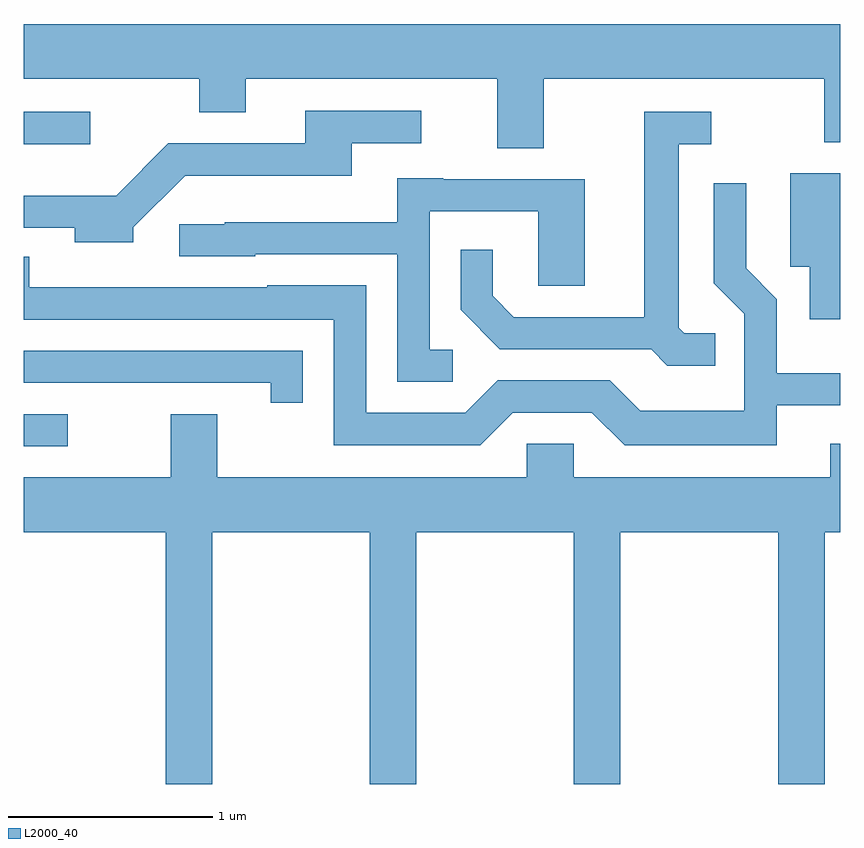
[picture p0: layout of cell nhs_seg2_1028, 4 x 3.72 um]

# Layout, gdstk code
import gdstk
lib = gdstk.Library(unit=1e-6, precision=1e-09)
def R(c, l, rs):  # rectangles x0, y0, x1, y1
    for r in rs: c.add(gdstk.rectangle(r[:2], r[2:], *l))
def P(c, l, *ps):  # polygons
    for p in ps: c.add(gdstk.Polygon(p, *l))
L2000_40 = (2000, 40)

nhs_seg2_1028 = lib.new_cell('nhs_seg2_1028')
R(nhs_seg2_1028, L2000_40, [(215.611,995.456,215.828,995.614), (215.611,996.936,215.938,997.094)])
P(nhs_seg2_1028, L2000_40, [(218.159,997.256),(219.531,997.256),(219.531,996.946),(219.611,996.946),(219.611,997.524),(215.611,997.524),(215.611,997.256),(216.471,997.256),(216.471,997.091),(216.699,997.091),(216.699,997.256),(217.931,997.256),(217.931,996.916),(218.159,996.916)],
  [(216.149,996.529),(216.402,996.781),(217.219,996.781),(217.219,996.941),(217.558,996.941),(217.558,997.099),(216.991,997.099),(216.991,996.939),(216.319,996.939),(216.064,996.684),(215.611,996.684),(215.611,996.526),(215.861,996.526),(215.861,996.456),(216.149,996.456)],
  [(218.998,996.009),(218.847,996.009),(218.819,996.037),(218.819,996.936),(218.978,996.936),(218.978,997.094),(218.651,997.094),(218.651,996.089),(218.012,996.089),(217.909,996.192),(217.909,996.418),(217.751,996.418),(217.751,996.124),(217.944,995.931),(218.684,995.931),(218.764,995.851),(218.998,995.851)],
  [(219.611,996.794),(219.366,996.794),(219.366,996.336),(219.461,996.336),(219.461,996.078),(219.611,996.078)],
  [(217.713,995.929),(217.599,995.929),(217.599,996.606),(218.131,996.606),(218.131,996.241),(218.359,996.241),(218.359,996.764),(217.665,996.764),(217.665,996.769),(217.441,996.769),(217.441,996.554),(216.595,996.554),(216.595,996.544),(216.373,996.544),(216.373,996.386),(216.745,996.386),(216.745,996.396),(217.441,996.396),(217.441,995.771),(217.713,995.771)],
  [(218.007,995.621),(218.394,995.621),(218.554,995.461),(219.299,995.461),(219.299,995.656),(219.611,995.656),(219.611,995.814),(219.299,995.814),(219.299,996.177),(219.149,996.327),(219.149,996.743),(218.991,996.743),(218.991,996.254),(219.141,996.104),(219.141,995.629),(218.632,995.629),(218.482,995.779),(217.934,995.779),(217.774,995.619),(217.289,995.619),(217.289,996.244),(216.805,996.244),(216.805,996.234),(215.639,996.234),(215.639,996.383),(215.611,996.383),(215.611,996.076),(217.131,996.076),(217.131,995.461),(217.847,995.461)],
  [(216.979,995.924),(215.611,995.924),(215.611,995.766),(216.821,995.766),(216.821,995.668),(216.979,995.668)],
  [(216.534,995.036),(217.306,995.036),(217.306,993.802),(217.534,993.802),(217.534,995.036),(218.306,995.036),(218.306,993.802),(218.534,993.802),(218.534,995.036),(219.306,995.036),(219.306,993.802),(219.534,993.802),(219.534,995.036),(219.611,995.036),(219.611,995.469),(219.561,995.469),(219.561,995.304),(218.304,995.304),(218.304,995.469),(218.076,995.469),(218.076,995.304),(216.559,995.304),(216.559,995.614),(216.331,995.614),(216.331,995.304),(215.611,995.304),(215.611,995.036),(216.306,995.036),(216.306,993.802),(216.534,993.802)])

lib.write_gds('nhs_seg2_1028.gds')
